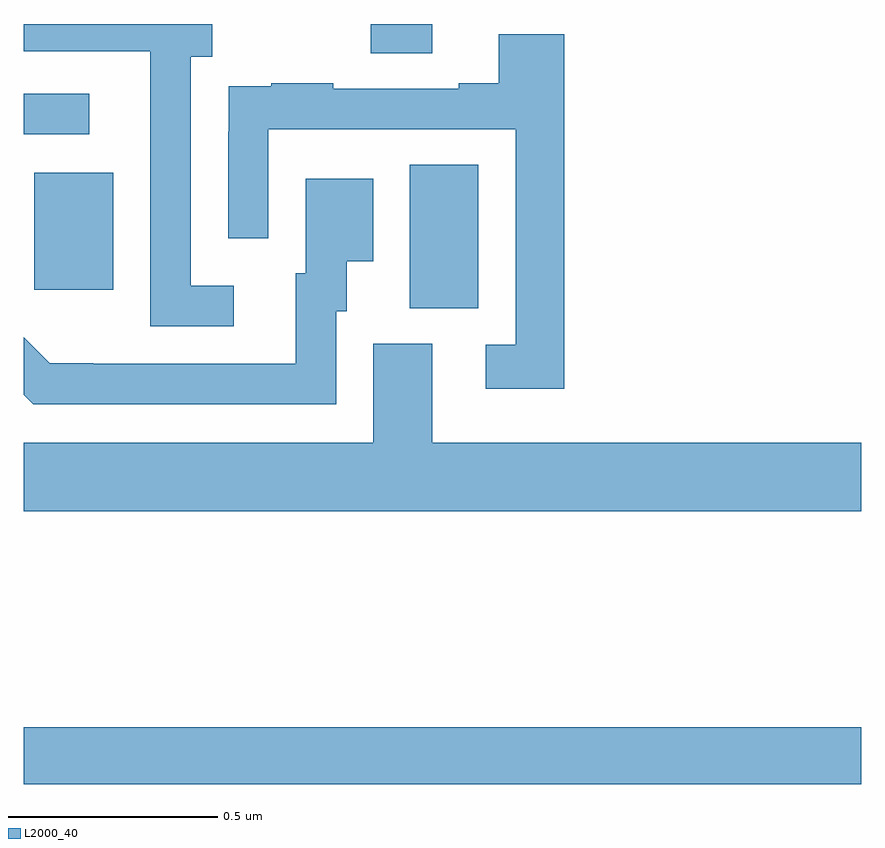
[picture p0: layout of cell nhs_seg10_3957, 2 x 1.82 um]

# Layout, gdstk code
import gdstk
lib = gdstk.Library(unit=1e-6, precision=1e-09)
def R(c, l, rs):  # rectangles x0, y0, x1, y1
    for r in rs: c.add(gdstk.rectangle(r[:2], r[2:], *l))
def P(c, l, *ps):  # polygons
    for p in ps: c.add(gdstk.Polygon(p, *l))
L2000_40 = (2000, 40)

nhs_seg10_3957 = lib.new_cell('nhs_seg10_3957')
R(nhs_seg10_3957, L2000_40, [(160,1279.684,162,1279.82), (160.922,1280.821,161.086,1281.164), (160.025,1280.865,160.213,1281.145), (160,1281.237,160.156,1281.333), (160.828,1281.43,160.975,1281.5)])
P(nhs_seg10_3957, L2000_40, [(160.501,1280.874),(160.398,1280.874),(160.398,1281.422),(160.45,1281.422),(160.45,1281.5),(160,1281.5),(160,1281.435),(160.302,1281.435),(160.302,1280.778),(160.501,1280.778)],
  [(161.291,1281.475),(161.135,1281.475),(161.135,1281.358),(161.039,1281.358),(161.039,1281.345),(160.739,1281.345),(160.739,1281.358),(160.591,1281.358),(160.591,1281.351),(160.489,1281.351),(160.489,1281.242),(160.488,1281.242),(160.488,1280.988),(160.584,1280.988),(160.584,1281.249),(161.175,1281.249),(161.175,1280.733),(161.103,1280.733),(161.103,1280.628),(161.291,1280.628)],
  [(160.746,1280.814),(160.771,1280.814),(160.771,1280.933),(160.834,1280.933),(160.834,1281.13),(160.673,1281.13),(160.673,1280.904),(160.649,1280.904),(160.649,1280.688),(160.165,1280.688),(160.165,1280.689),(160.062,1280.689),(160,1280.751),(160,1280.614),(160.022,1280.592),(160.746,1280.592)],
  [(162,1280.5),(160.975,1280.5),(160.975,1280.736),(160.835,1280.736),(160.835,1280.5),(160,1280.5),(160,1280.336),(162,1280.336)])

lib.write_gds('nhs_seg10_3957.gds')
